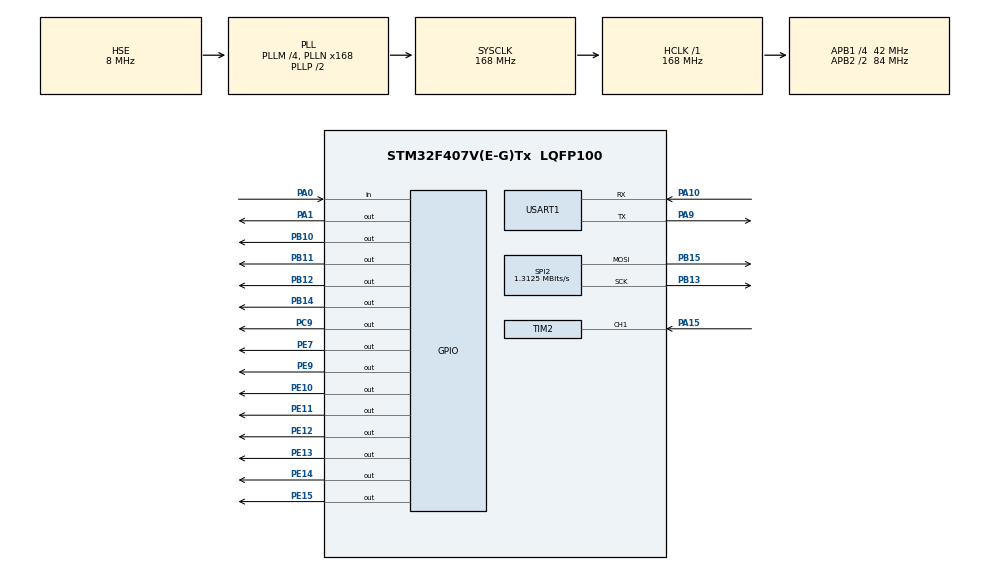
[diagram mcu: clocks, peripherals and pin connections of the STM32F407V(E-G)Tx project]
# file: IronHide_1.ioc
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Mcu.Family=STM32F4
Mcu.Name=STM32F407V(E-G)Tx
Mcu.Package=LQFP100
NVIC.PriorityGroup=NVIC_PRIORITYGROUP_4
NVIC.USART1_IRQn=true\:0\:0\:false\:false\:true\:true\:true
PA0-WKUP.GPIO_PuPd=GPIO_PULLDOWN
PA0-WKUP.Signal=GPIO_Input
PA1.Signal=GPIO_Output
PA10.Mode=Asynchronous
PA10.Signal=USART1_RX
PA13.Mode=Serial_Wire
PA13.Signal=SYS_JTMS-SWDIO
PA14.Mode=Serial_Wire
PA14.Signal=SYS_JTCK-SWCLK
PA15.Signal=S_TIM2_CH1_ETR
PA9.Mode=Asynchronous
PA9.Signal=USART1_TX
PB10.Signal=GPIO_Output
PB11.Signal=GPIO_Output
PB12.Signal=GPIO_Output
PB13.Mode=TX_Only_Simplex_Unidirect_Master
PB13.Signal=SPI2_SCK
PB14.Signal=GPIO_Output
PB15.Mode=TX_Only_Simplex_Unidirect_Master
PB15.Signal=SPI2_MOSI
PC9.Signal=GPIO_Output
PE10.Signal=GPIO_Output
PE11.Signal=GPIO_Output
PE12.Signal=GPIO_Output
PE13.Signal=GPIO_Output
PE14.Signal=GPIO_Output
PE15.Signal=GPIO_Output
PE7.Signal=GPIO_Output
PE9.Signal=GPIO_Output
PH0-OSC_IN.Mode=HSE-External-Oscillator
PH0-OSC_IN.Signal=RCC_OSC_IN
PH1-OSC_OUT.Mode=HSE-External-Oscillator
PH1-OSC_OUT.Signal=RCC_OSC_OUT
ProjectManager.HeapSize=0x200
ProjectManager.StackSize=0x400
ProjectManager.TargetToolchain=STM32CubeIDE
RCC.48MHZClocksFreq_Value=84000000
RCC.AHBFreq_Value=168000000
RCC.APB1CLKDivider=RCC_HCLK_DIV4
RCC.APB1Freq_Value=42000000
RCC.APB1TimFreq_Value=84000000
RCC.APB2CLKDivider=RCC_HCLK_DIV2
RCC.APB2Freq_Value=84000000
RCC.APB2TimFreq_Value=168000000
RCC.CortexFreq_Value=168000000
RCC.HCLKFreq_Value=168000000
RCC.HSE_VALUE=8000000
RCC.HSI_VALUE=16000000
RCC.LSE_VALUE=32768
RCC.PLLM=4
RCC.PLLN=168
RCC.PLLSourceVirtual=RCC_PLLSOURCE_HSE
RCC.SYSCLKFreq_VALUE=168000000
RCC.SYSCLKSource=RCC_SYSCLKSOURCE_PLLCLK
RCC.VCOOutputFreq_Value=336000000
SH.S_TIM2_CH1_ETR.0=TIM2_CH1,Input_Capture1_from_TI1
SPI2.BaudRatePrescaler=SPI_BAUDRATEPRESCALER_32
SPI2.CalculateBaudRate=1.3125 MBits/s
SPI2.Direction=SPI_DIRECTION_2LINES
SPI2.Mode=SPI_MODE_MASTER
SPI2.VirtualType=VM_MASTER
TIM2.Channel-Input_Capture1_from_TI1=TIM_CHANNEL_1
TIM2.ICPolarity_CH1=TIM_INPUTCHANNELPOLARITY_BOTHEDGE
TIM2.Prescaler=168-1
USART1.VirtualMode=VM_ASYNC
board=custom

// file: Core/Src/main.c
/* USER CODE BEGIN Header */
/**
  ******************************************************************************
  * @file           : main.c
  * @brief          : Main program body
  ******************************************************************************
  * @attention
  *
  * <h2><center>&copy; Copyright (c) 2021 STMicroelectronics.
  * All rights reserved.</center></h2>
  *
  * This software component is licensed by ST under BSD 3-Clause license,
  * the "License"; You may not use this file except in compliance with the
  * License. You may obtain a copy of the License at:
  *                        opensource.org/licenses/BSD-3-Clause
  *
  ******************************************************************************
  */
/* USER CODE END Header */
#include "main.h"
#include "spi.h"
#include "tim.h"
#include "usart.h"
#include "gpio.h"

/* USER CODE BEGIN Includes */
#include "ROBOTIN.h"
#include "IMAGES.h"
#include "max7219.h"

/* USER CODE END Includes */

/* USER CODE BEGIN PM */
uint8_t data;
/* USER CODE END PM */

/* USER CODE BEGIN PV */
float distance;
/* USER CODE END PV */

void SystemClock_Config(void);

/* USER CODE BEGIN 0 */
void sendDataSPI(uint8_t reg, uint8_t data);

void MAX72xx_putChar(char ch);

void MAX72xx_print(uint8_t* str);

float HCSR04_Read(void);

/* USER CODE END 0 */

int main(void)
{

  /* MCU Configuration--------------------------------------------------------*/

  /* Reset of all peripherals, Initializes the Flash interface and the Systick. */
  HAL_Init();

  /* Configure the system clock */
  SystemClock_Config();

  /* Initialize all configured peripherals */
  MX_GPIO_Init();
  MX_USART1_UART_Init();
  MX_SPI2_Init();
  MX_TIM2_Init();
  /* USER CODE BEGIN 2 */
  HAL_UART_Receive_IT(&huart1, &data, 1);
  MAX72xx_Init();

  /* USER CODE END 2 */

  /* Infinite loop */
  while (1)
  {

    /* USER CODE BEGIN 3 */
	  //distance = HCSR04_Read();
//	  if(distance>20){
//		  Straight();
//		  HAL_GPIO_WritePin(GPIOE, GPIO_PIN_9, GPIO_PIN_SET);
//		  HAL_GPIO_WritePin(GPIOE, GPIO_PIN_11, GPIO_PIN_RESET);
//	  }
//	  else if(distance<20){
//		  TurnLeft();
//		  HAL_GPIO_WritePin(GPIOE, GPIO_PIN_11, GPIO_PIN_SET);
//		  HAL_GPIO_WritePin(GPIOE, GPIO_PIN_9, GPIO_PIN_RESET);
//		  HAL_Delay(300);
//	  }

  }
  /* USER CODE END 3 */
}

void SystemClock_Config(void)
{
  RCC_OscInitTypeDef RCC_OscInitStruct = {0};
  RCC_ClkInitTypeDef RCC_ClkInitStruct = {0};

  /** Configure the main internal regulator output voltage
  */
  __HAL_RCC_PWR_CLK_ENABLE();
  __HAL_PWR_VOLTAGESCALING_CONFIG(PWR_REGULATOR_VOLTAGE_SCALE1);
  /** Initializes the RCC Oscillators according to the specified parameters
  * in the RCC_OscInitTypeDef structure.
  */
  RCC_OscInitStruct.OscillatorType = RCC_OSCILLATORTYPE_HSE;
  RCC_OscInitStruct.HSEState = RCC_HSE_ON;
  RCC_OscInitStruct.PLL.PLLState = RCC_PLL_ON;
  RCC_OscInitStruct.PLL.PLLSource = RCC_PLLSOURCE_HSE;
  RCC_OscInitStruct.PLL.PLLM = 4;
  RCC_OscInitStruct.PLL.PLLN = 168;
  RCC_OscInitStruct.PLL.PLLP = RCC_PLLP_DIV2;
  RCC_OscInitStruct.PLL.PLLQ = 4;
  if (HAL_RCC_OscConfig(&RCC_OscInitStruct) != HAL_OK)
  {
    Error_Handler();
  }
  /** Initializes the CPU, AHB and APB buses clocks
  */
  RCC_ClkInitStruct.ClockType = RCC_CLOCKTYPE_HCLK|RCC_CLOCKTYPE_SYSCLK
                              |RCC_CLOCKTYPE_PCLK1|RCC_CLOCKTYPE_PCLK2;
  RCC_ClkInitStruct.SYSCLKSource = RCC_SYSCLKSOURCE_PLLCLK;
  RCC_ClkInitStruct.AHBCLKDivider = RCC_SYSCLK_DIV1;
  RCC_ClkInitStruct.APB1CLKDivider = RCC_HCLK_DIV4;
  RCC_ClkInitStruct.APB2CLKDivider = RCC_HCLK_DIV2;

  if (HAL_RCC_ClockConfig(&RCC_ClkInitStruct, FLASH_LATENCY_5) != HAL_OK)
  {
    Error_Handler();
  }
}

/* USER CODE BEGIN 4 */
void sendDataSPI(uint8_t reg, uint8_t data){
	//NSS -> LOW
	HAL_GPIO_WritePin(GPIOB, GPIO_PIN_12, RESET);
	//send address
	HAL_SPI_Transmit(&hspi2, (uint8_t*)&reg, 1, HAL_MAX_DELAY);
	while(HAL_SPI_GetState(&hspi2)!=HAL_SPI_STATE_READY);
	//send data
	HAL_SPI_Transmit(&hspi2, (uint8_t*)&data, 1, HAL_MAX_DELAY);
	while(HAL_SPI_GetState(&hspi2)!=HAL_SPI_STATE_READY);
	//NSS ->HIGH
	HAL_GPIO_WritePin(GPIOB, GPIO_PIN_12, GPIO_PIN_SET);
}

void MAX72xx_print(uint8_t* str){
	while(*str){
		if(*str != ' '){
			for(uint8_t i = 0;i<8;i++){
				sendDataSPI(i+1, LETTERS[*str - 48][i]);
			}
		}
		else{//si el caracter es un espacio en blanco
			for(uint8_t i = 0;i<8;i++){
				sendDataSPI(i+1, 0x00);	//no se muestra nada
			}
		}
		str++;
		HAL_Delay(400);
	}
}
void MAX72xx_putChar(char ch){
	for(uint8_t i = 0;i<8;i++){
		MAX72xx_write(i+1,LETTERS[ch - 48][i]);
		//sendDataSPI(i+1, LETTERS[ch - 48][i]);
	}
}

float HCSR04_Read(void){
	/*local variables*/
	uint32_t capture[2];
	float diffCapture;
	float timeUs;
	float dist;
	uint32_t TIM2_CLK = SystemCoreClock/2;
	__HAL_TIM_SET_COUNTER(&htim2,0);					//reset CNT
	HAL_TIM_Base_Start(&htim2);							//start input capture
	/*generate pulse 10us*/
	HAL_GPIO_WritePin(GPIOC, GPIO_PIN_9, GPIO_PIN_SET);
	while(__HAL_TIM_GET_COUNTER(&htim2)<=10);			//10us
	HAL_GPIO_WritePin(GPIOC, GPIO_PIN_9, GPIO_PIN_RESET);
	//wait rising edge
	HAL_TIM_Base_Stop(&htim2);
	HAL_TIM_IC_Start(&htim2, TIM_CHANNEL_1);
	TIM2->SR =0 ;
	while(!(TIM2->SR & TIM_SR_CC1IF));
	TIM2->SR &=~ TIM_SR_CC1IF;
	capture[0] = TIM2->CCR1;
	/*wait falling edge*/
	while(!(TIM2->SR & TIM_SR_CC1IF));
	TIM2->SR &=~ TIM_SR_CC1IF;
	capture[1] = TIM2->CCR1;
	HAL_TIM_IC_Stop(&htim2, TIM_CHANNEL_1);
	/*calc diference*/
	if(capture[1] >= capture[0]){
		diffCapture = capture[1] - capture[0];
	}
	else{
		diffCapture = TIM2->ARR - capture[0] + capture[1];
	}
	/*se calcula el tiempo del ancho de pulso en us*/
	timeUs = (diffCapture * ((float)(TIM2->PSC + 1)/TIM2_CLK)) * 1000000;
	/*Se calcula la distancia*/
	dist = timeUs / 58;
	/*ser retorna el valor calculado*/
	if(dist>400){
		return 0.0;
	}
	else{
		return dist;
	}

}
/* USER CODE END 4 */

void Error_Handler(void)
{
  __disable_irq();
  while (1)
  {
  }
}

/************************ (C) COPYRIGHT STMicroelectronics *****END OF FILE****/
